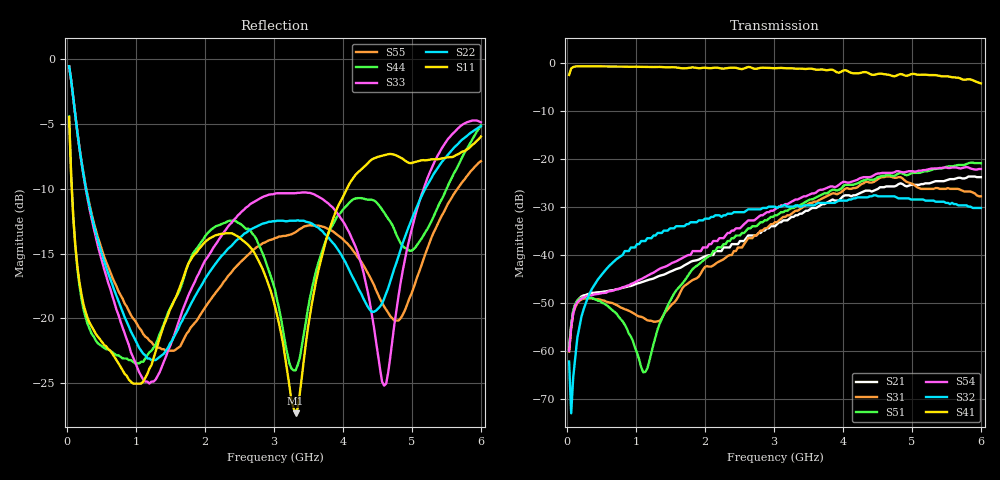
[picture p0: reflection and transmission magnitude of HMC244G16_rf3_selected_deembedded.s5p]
!Hittite Microwave Corporation
!12 Elizabeth Drive
!Chelmsford, MA 01824
!Tel: 978-250-3343
!Fax: 978-250-3373
!Device: HMC244G16, DC - 4 GHz GaAs MMIC SP4T Non-Reflective Switch in 16 lead hermetic package
!Misc: Port 1 = RFC, Port 2 = RF1, Port 3 = RF2, Port 4 = RF3, Port 5 = RF4, RF3 Selected, Bias: +5VDC
# MHZ S MA R 50
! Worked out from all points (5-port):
!   201 points, 30 MHz to 6 GHz, reference 50 ohm
!   strongest paths, dB at 30 MHz, 1.522 GHz, 3.015 GHz, 4.508 GHz, 6 GHz:
!     S41: -2.4, -0.8, -1.0, -2.2, -4.2
!     S32: -62.2, -34.4, -29.9, -27.7, -30.2
!     S54: -60.0, -41.6, -30.5, -23.0, -22.0
!     S51: -59.1, -48.8, -31.7, -23.7, -20.8
!     S31: -60.2, -50.3, -33.2, -24.2, -27.7
!     S21: -59.6, -43.3, -34.0, -26.2, -23.7
!   lowest |S11| = -27.3 dB at 3.313 GHz (marker M1), VSWR 1.09, Z = 54.1 + j1.73 ohm
!   |S11| at or under -10 dB: 69.21 MHz to 4.058 GHz (3.989 GHz wide, 193 % of centre)
